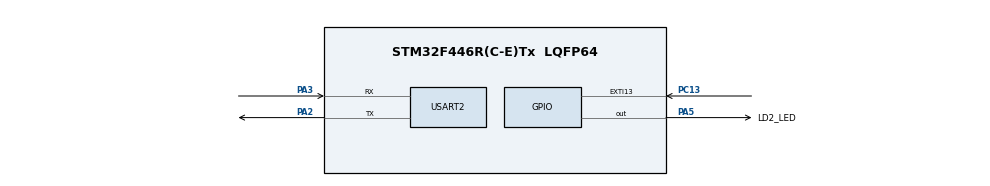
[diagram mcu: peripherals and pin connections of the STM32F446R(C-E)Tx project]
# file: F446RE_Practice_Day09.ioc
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Mcu.Family=STM32F4
Mcu.Name=STM32F446R(C-E)Tx
Mcu.Package=LQFP64
NVIC.EXTI15_10_IRQn=true\:0\:0\:false\:false\:true\:true\:true\:true
NVIC.PriorityGroup=NVIC_PRIORITYGROUP_4
PA13.Mode=Serial_Wire
PA13.Signal=SYS_JTMS-SWDIO
PA14.Mode=Serial_Wire
PA14.Signal=SYS_JTCK-SWCLK
PA2.Mode=Asynchronous
PA2.Signal=USART2_TX
PA3.Mode=Asynchronous
PA3.Signal=USART2_RX
PA5.GPIO_Label=LD2_LED
PA5.Signal=GPIO_Output
PC13.GPIO_ModeDefaultEXTI=GPIO_MODE_IT_FALLING
PC13.Signal=GPXTI13
ProjectManager.HeapSize=0x200
ProjectManager.StackSize=0x400
ProjectManager.TargetToolchain=STM32CubeIDE
RCC.CortexFreq_Value=16000000
RCC.USBFreq_Value=96000000
RCC.VCOOutputFreq_Value=192000000
USART2.VirtualMode=VM_ASYNC
board=custom

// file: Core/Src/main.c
/* USER CODE BEGIN Header */
/**
  ******************************************************************************
  * @file           : main.c
  * @brief          : Main program body
  ******************************************************************************
  * @attention
  *
  * Copyright (c) 2026 STMicroelectronics.
  * All rights reserved.
  *
  * This software is licensed under terms that can be found in the LICENSE file
  * in the root directory of this software component.
  * If no LICENSE file comes with this software, it is provided AS-IS.
  *
  ******************************************************************************
  */
/* USER CODE END Header */
#include "main.h"

/* USER CODE BEGIN Includes */

#include <stdbool.h>

/* USER CODE END Includes */

UART_HandleTypeDef huart2;

/* USER CODE BEGIN PV */

volatile bool trigger_hardfault = false;

/* USER CODE END PV */

void SystemClock_Config(void);
static void MX_GPIO_Init(void);
static void MX_USART2_UART_Init(void);

/* USER CODE BEGIN 0 */

static void Trigger_UndefinedInstruction(void)
{
    /*
     * UDF：Undefined Instruction。
     * CPU 執行後會產生 UsageFault。
     */
    __asm volatile ("udf #0");
}

/* USER CODE END 0 */

int main(void)
{

  /* MCU Configuration--------------------------------------------------------*/

  /* Reset of all peripherals, Initializes the Flash interface and the Systick. */
  HAL_Init();

  /* Configure the system clock */
  SystemClock_Config();

  /* Initialize all configured peripherals */
  MX_GPIO_Init();
  MX_USART2_UART_Init();
  /* USER CODE BEGIN 2 */

  uint32_t led_tick = HAL_GetTick();

  /* USER CODE END 2 */

  /* Infinite loop */
  while (1)
  {

    /* USER CODE BEGIN 3 */

	  /*
	  * 正常運行時的 Heartbeat。
	  */
	 if ((HAL_GetTick() - led_tick) >= 500U)
	 {
		 led_tick += 500U;

		 HAL_GPIO_TogglePin(
			 GPIOA,
			 GPIO_PIN_5);
	 }

	 if (trigger_hardfault)
	 {
		 trigger_hardfault = false;

		 Trigger_UndefinedInstruction();
	 }

  }
  /* USER CODE END 3 */
}

void SystemClock_Config(void)
{
  RCC_OscInitTypeDef RCC_OscInitStruct = {0};
  RCC_ClkInitTypeDef RCC_ClkInitStruct = {0};

  /** Configure the main internal regulator output voltage
  */
  __HAL_RCC_PWR_CLK_ENABLE();
  __HAL_PWR_VOLTAGESCALING_CONFIG(PWR_REGULATOR_VOLTAGE_SCALE3);

  /** Initializes the RCC Oscillators according to the specified parameters
  * in the RCC_OscInitTypeDef structure.
  */
  RCC_OscInitStruct.OscillatorType = RCC_OSCILLATORTYPE_HSI;
  RCC_OscInitStruct.HSIState = RCC_HSI_ON;
  RCC_OscInitStruct.HSICalibrationValue = RCC_HSICALIBRATION_DEFAULT;
  RCC_OscInitStruct.PLL.PLLState = RCC_PLL_NONE;
  if (HAL_RCC_OscConfig(&RCC_OscInitStruct) != HAL_OK)
  {
    Error_Handler();
  }

  /** Initializes the CPU, AHB and APB buses clocks
  */
  RCC_ClkInitStruct.ClockType = RCC_CLOCKTYPE_HCLK|RCC_CLOCKTYPE_SYSCLK
                              |RCC_CLOCKTYPE_PCLK1|RCC_CLOCKTYPE_PCLK2;
  RCC_ClkInitStruct.SYSCLKSource = RCC_SYSCLKSOURCE_HSI;
  RCC_ClkInitStruct.AHBCLKDivider = RCC_SYSCLK_DIV1;
  RCC_ClkInitStruct.APB1CLKDivider = RCC_HCLK_DIV1;
  RCC_ClkInitStruct.APB2CLKDivider = RCC_HCLK_DIV1;

  if (HAL_RCC_ClockConfig(&RCC_ClkInitStruct, FLASH_LATENCY_0) != HAL_OK)
  {
    Error_Handler();
  }
}

static void MX_USART2_UART_Init(void)
{

  huart2.Instance = USART2;
  huart2.Init.BaudRate = 115200;
  huart2.Init.WordLength = UART_WORDLENGTH_8B;
  huart2.Init.StopBits = UART_STOPBITS_1;
  huart2.Init.Parity = UART_PARITY_NONE;
  huart2.Init.Mode = UART_MODE_TX_RX;
  huart2.Init.HwFlowCtl = UART_HWCONTROL_NONE;
  huart2.Init.OverSampling = UART_OVERSAMPLING_16;
  if (HAL_UART_Init(&huart2) != HAL_OK)
  {
    Error_Handler();
  }

}

static void MX_GPIO_Init(void)
{
  GPIO_InitTypeDef GPIO_InitStruct = {0};

  /* GPIO Ports Clock Enable */
  __HAL_RCC_GPIOC_CLK_ENABLE();
  __HAL_RCC_GPIOA_CLK_ENABLE();

  /*Configure GPIO pin Output Level */
  HAL_GPIO_WritePin(LD2_LED_GPIO_Port, LD2_LED_Pin, GPIO_PIN_RESET);

  /*Configure GPIO pin : PC13 */
  GPIO_InitStruct.Pin = GPIO_PIN_13;
  GPIO_InitStruct.Mode = GPIO_MODE_IT_FALLING;
  GPIO_InitStruct.Pull = GPIO_NOPULL;
  HAL_GPIO_Init(GPIOC, &GPIO_InitStruct);

  /*Configure GPIO pin : LD2_LED_Pin */
  GPIO_InitStruct.Pin = LD2_LED_Pin;
  GPIO_InitStruct.Mode = GPIO_MODE_OUTPUT_PP;
  GPIO_InitStruct.Pull = GPIO_NOPULL;
  GPIO_InitStruct.Speed = GPIO_SPEED_FREQ_LOW;
  HAL_GPIO_Init(LD2_LED_GPIO_Port, &GPIO_InitStruct);

  /* EXTI interrupt init*/
  HAL_NVIC_SetPriority(EXTI15_10_IRQn, 0, 0);
  HAL_NVIC_EnableIRQ(EXTI15_10_IRQn);

}

/* USER CODE BEGIN 4 */

void HAL_GPIO_EXTI_Callback(uint16_t GPIO_Pin)
{
    if (GPIO_Pin == GPIO_PIN_13)
    {
        trigger_hardfault = true;
    }
}

/* USER CODE END 4 */

void Error_Handler(void)
{
  __disable_irq();
  while (1)
  {
  }
}
